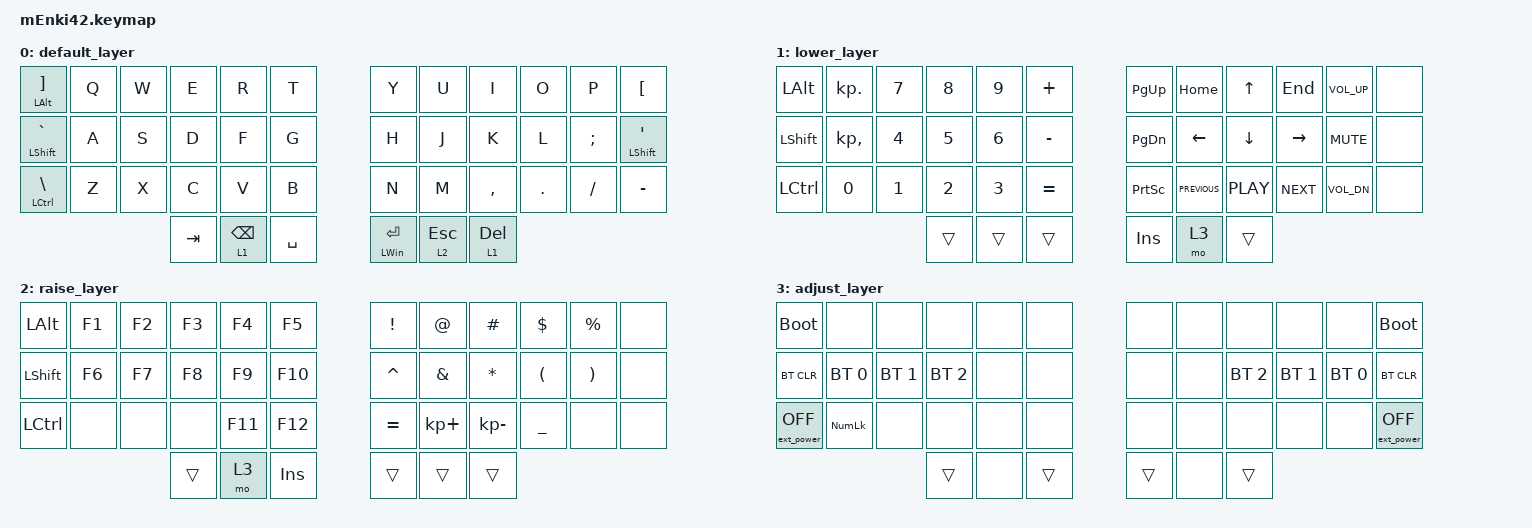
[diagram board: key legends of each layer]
/*
 * Copyright (c) 2020 The ZMK Contributors
 *
 * SPDX-License-Identifier: MIT
 */

#include <behaviors.dtsi>
#include <dt-bindings/zmk/keys.h>
#include <dt-bindings/zmk/bt.h>

#include <dt-bindings/zmk/ext_power.h>
 
#define DEF 0
#define LWR 1
#define RSE 2
#define ADJ 3

&lt { quick_tap_ms = <220>; };
&mt { quick_tap_ms = <220>; };

/ {
    macros {
        numdot: numdot {
            label = "ZM_numdot";
            compatible = "zmk,behavior-macro";
            #binding-cells = <0>;
            wait-ms = <40>;
            tap-ms = <40>;
            bindings
                = <&macro_press   &kp LALT>    
                , <&macro_tap     &kp KP_N4 &kp KP_N6>    
                , <&macro_release &kp LALT>
                ;
        };
        grtsgn: grtsgn {
            label = "ZM_grtsgn";
            compatible = "zmk,behavior-macro";
            #binding-cells = <0>;
            wait-ms = <40>;
            tap-ms = <40>;
            bindings
                = <&macro_press   &kp LALT>    
                , <&macro_tap     &kp KP_N6 &kp KP_N2>    
                , <&macro_release &kp LALT>
                ;
        };
    };
};
/ {
        keymap {
                compatible = "zmk,keymap";

                default_layer {
            bindings = <
&mt LEFT_ALT RBKT      &kp Q  &kp W  &kp E    &kp R            &kp T        &kp Y               &kp U         &kp I         &kp O    &kp P     &kp LEFT_BRACKET
&mt LEFT_SHIFT GRAVE   &kp A  &kp S  &kp D    &kp F            &kp G        &kp H               &kp J         &kp K         &kp L    &kp SEMI  &mt LEFT_SHIFT SQT
&mt LEFT_CONTROL BSLH  &kp Z  &kp X  &kp C    &kp V            &kp B        &kp N               &kp M         &kp COMMA     &kp DOT  &kp FSLH  &kp MINUS
                                     &kp TAB  &lt 1 BACKSPACE  &kp SPACE    &mt LEFT_WIN ENTER  &lt 2 ESCAPE  &lt 1 DELETE
            >;
                };
                lower_layer {
                        bindings = <
&kp LEFT_ALT      &kp KP_DOT    &kp N7  &kp N8  &kp N9  &kp PLUS     &kp PG_UP        &kp HOME        &kp UP_ARROW    &kp END          &kp C_VOLUME_UP  &none
&kp LEFT_SHIFT    &kp KP_COMMA  &kp N4  &kp N5  &kp N6  &kp MINUS    &kp PAGE_DOWN    &kp LEFT_ARROW  &kp DOWN_ARROW  &kp RIGHT_ARROW  &kp C_MUTE       &none
&kp LEFT_CONTROL  &kp N0        &kp N1  &kp N2  &kp N3  &kp EQUAL    &kp PRINTSCREEN  &kp C_PREVIOUS  &kp C_PLAY      &kp C_NEXT       &kp C_VOL_DN     &none
                                        &trans  &trans  &trans       &kp INSERT       &mo 3           &trans
            >;
                };
                raise_layer {
                        bindings = <
&kp LEFT_ALT      &kp F1  &kp F2  &kp F3  &kp F4   &kp F5        &kp EXCLAMATION  &kp AT_SIGN    &kp HASH      &kp DOLLAR            &kp PERCENT            &none
&kp LEFT_SHIFT    &kp F6  &kp F7  &kp F8  &kp F9   &kp F10       &kp CARET        &kp AMPERSAND  &kp ASTERISK  &kp LEFT_PARENTHESIS  &kp RIGHT_PARENTHESIS  &none
&kp LEFT_CONTROL  &none   &none   &none   &kp F11  &kp F12       &kp EQUAL        &kp KP_PLUS    &kp KP_MINUS  &kp UNDER             &none                  &none
                                  &trans  &mo 3    &kp INSERT    &trans           &trans         &trans
            >; 
                };
                                adjust_layer {
                        bindings = <
&bootloader        &none         &none         &none         &none  &none     &none   &none  &none         &none         &none         &bootloader
&bt BT_CLR         &bt BT_SEL 0  &bt BT_SEL 1  &bt BT_SEL 2  &none  &none     &none   &none  &bt BT_SEL 2  &bt BT_SEL 1  &bt BT_SEL 0  &bt BT_CLR
&ext_power EP_OFF  &kp KP_NUM    &none         &none         &none  &none     &none   &none  &none         &none         &none         &ext_power EP_OFF
                                               &trans        &none  &trans    &trans  &none  &trans
                        >;
                };
        };
};
